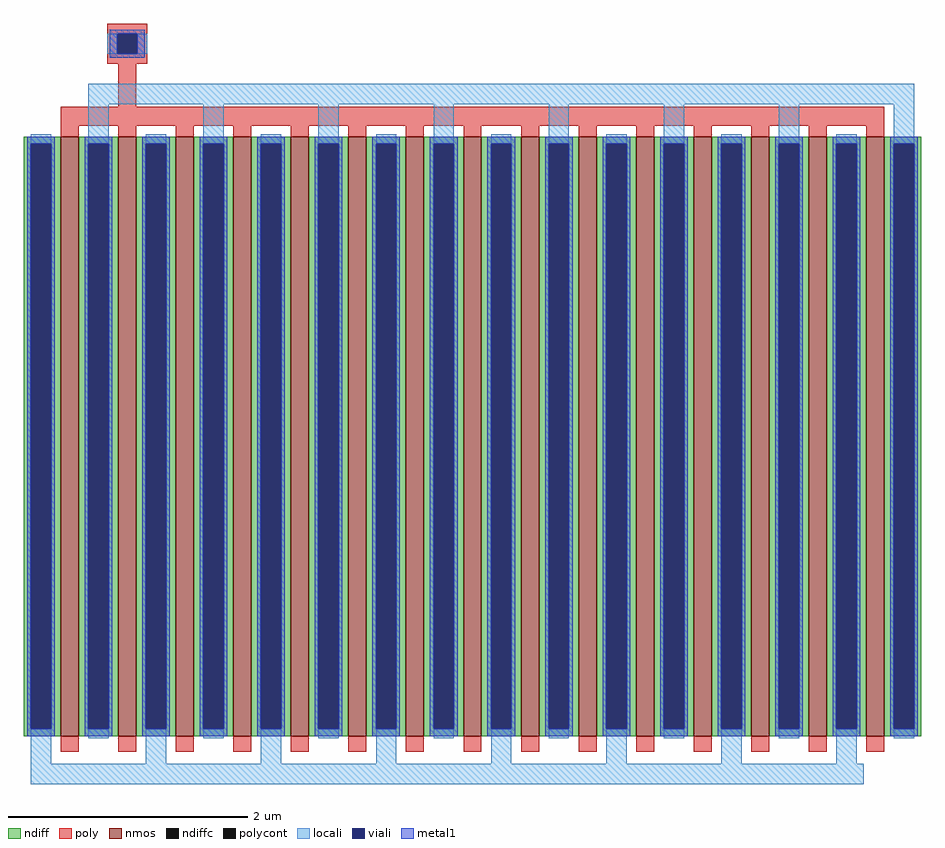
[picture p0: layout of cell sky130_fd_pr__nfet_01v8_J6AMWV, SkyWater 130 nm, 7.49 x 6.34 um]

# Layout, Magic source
magic
tech sky130A
magscale 1 2
<< nmos >>
rect -687 -500 -657 500
rect -591 -500 -561 500
rect -495 -500 -465 500
rect -399 -500 -369 500
rect -303 -500 -273 500
rect -207 -500 -177 500
rect -111 -500 -81 500
rect -15 -500 15 500
rect 81 -500 111 500
rect 177 -500 207 500
rect 273 -500 303 500
rect 369 -500 399 500
rect 465 -500 495 500
rect 561 -500 591 500
rect 657 -500 687 500
<< ndiff >>
rect -749 488 -687 500
rect -749 -488 -737 488
rect -703 -488 -687 488
rect -749 -500 -687 -488
rect -657 488 -591 500
rect -657 -488 -641 488
rect -607 -488 -591 488
rect -657 -500 -591 -488
rect -561 488 -495 500
rect -561 -488 -545 488
rect -511 -488 -495 488
rect -561 -500 -495 -488
rect -465 488 -399 500
rect -465 -488 -449 488
rect -415 -488 -399 488
rect -465 -500 -399 -488
rect -369 488 -303 500
rect -369 -488 -353 488
rect -319 -488 -303 488
rect -369 -500 -303 -488
rect -273 488 -207 500
rect -273 -488 -257 488
rect -223 -488 -207 488
rect -273 -500 -207 -488
rect -177 488 -111 500
rect -177 -488 -161 488
rect -127 -488 -111 488
rect -177 -500 -111 -488
rect -81 488 -15 500
rect -81 -488 -65 488
rect -31 -488 -15 488
rect -81 -500 -15 -488
rect 15 488 81 500
rect 15 -488 31 488
rect 65 -488 81 488
rect 15 -500 81 -488
rect 111 488 177 500
rect 111 -488 127 488
rect 161 -488 177 488
rect 111 -500 177 -488
rect 207 488 273 500
rect 207 -488 223 488
rect 257 -488 273 488
rect 207 -500 273 -488
rect 303 488 369 500
rect 303 -488 319 488
rect 353 -488 369 488
rect 303 -500 369 -488
rect 399 488 465 500
rect 399 -488 415 488
rect 449 -488 465 488
rect 399 -500 465 -488
rect 495 488 561 500
rect 495 -488 511 488
rect 545 -488 561 488
rect 495 -500 561 -488
rect 591 488 657 500
rect 591 -488 607 488
rect 641 -488 657 488
rect 591 -500 657 -488
rect 687 488 749 500
rect 687 -488 703 488
rect 737 -488 749 488
rect 687 -500 749 -488
<< ndiffc >>
rect -737 -488 -703 488
rect -641 -488 -607 488
rect -545 -488 -511 488
rect -449 -488 -415 488
rect -353 -488 -319 488
rect -257 -488 -223 488
rect -161 -488 -127 488
rect -65 -488 -31 488
rect 31 -488 65 488
rect 127 -488 161 488
rect 223 -488 257 488
rect 319 -488 353 488
rect 415 -488 449 488
rect 511 -488 545 488
rect 607 -488 641 488
rect 703 -488 737 488
<< poly >>
rect -609 672 -543 688
rect -609 638 -593 672
rect -559 638 -543 672
rect -609 622 -543 638
rect -591 550 -561 622
rect -687 518 687 550
rect -687 500 -657 518
rect -591 500 -561 518
rect -495 500 -465 518
rect -399 500 -369 518
rect -303 500 -273 518
rect -207 500 -177 518
rect -111 500 -81 518
rect -15 500 15 518
rect 81 500 111 518
rect 177 500 207 518
rect 273 500 303 518
rect 369 500 399 518
rect 465 500 495 518
rect 561 500 591 518
rect 657 500 687 518
rect -687 -526 -657 -500
rect -591 -526 -561 -500
rect -495 -526 -465 -500
rect -399 -526 -369 -500
rect -303 -526 -273 -500
rect -207 -526 -177 -500
rect -111 -526 -81 -500
rect -15 -526 15 -500
rect 81 -526 111 -500
rect 177 -526 207 -500
rect 273 -526 303 -500
rect 369 -526 399 -500
rect 465 -526 495 -500
rect 561 -526 591 -500
rect 657 -526 687 -500
<< polycont >>
rect -593 638 -559 672
<< locali >>
rect -609 638 -593 672
rect -559 638 -543 672
rect -641 554 737 588
rect -737 488 -703 504
rect -737 -546 -703 -488
rect -641 488 -607 554
rect -641 -504 -607 -488
rect -545 488 -511 504
rect -545 -546 -511 -488
rect -449 488 -415 554
rect -449 -504 -415 -488
rect -353 488 -319 504
rect -353 -546 -319 -488
rect -257 488 -223 554
rect -257 -504 -223 -488
rect -161 488 -127 504
rect -161 -546 -127 -488
rect -65 488 -31 554
rect -65 -504 -31 -488
rect 31 488 65 504
rect 31 -546 65 -488
rect 127 488 161 554
rect 127 -504 161 -488
rect 223 488 257 504
rect 223 -546 257 -488
rect 319 488 353 554
rect 319 -504 353 -488
rect 415 488 449 504
rect 415 -546 449 -488
rect 511 488 545 554
rect 511 -504 545 -488
rect 607 488 641 504
rect 607 -546 641 -488
rect 703 488 737 554
rect 703 -504 737 -488
rect -737 -580 653 -546
<< viali >>
rect -593 638 -559 672
rect -737 -488 -703 488
rect -641 -488 -607 488
rect -545 -488 -511 488
rect -449 -488 -415 488
rect -353 -488 -319 488
rect -257 -488 -223 488
rect -161 -488 -127 488
rect -65 -488 -31 488
rect 31 -488 65 488
rect 127 -488 161 488
rect 223 -488 257 488
rect 319 -488 353 488
rect 415 -488 449 488
rect 511 -488 545 488
rect 607 -488 641 488
rect 703 -488 737 488
<< metal1 >>
rect -605 672 -547 678
rect -605 638 -593 672
rect -559 638 -547 672
rect -605 632 -547 638
rect -743 488 -697 500
rect -743 -488 -737 488
rect -703 -488 -697 488
rect -743 -500 -697 -488
rect -647 488 -601 500
rect -647 -488 -641 488
rect -607 -488 -601 488
rect -647 -500 -601 -488
rect -551 488 -505 500
rect -551 -488 -545 488
rect -511 -488 -505 488
rect -551 -500 -505 -488
rect -455 488 -409 500
rect -455 -488 -449 488
rect -415 -488 -409 488
rect -455 -500 -409 -488
rect -359 488 -313 500
rect -359 -488 -353 488
rect -319 -488 -313 488
rect -359 -500 -313 -488
rect -263 488 -217 500
rect -263 -488 -257 488
rect -223 -488 -217 488
rect -263 -500 -217 -488
rect -167 488 -121 500
rect -167 -488 -161 488
rect -127 -488 -121 488
rect -167 -500 -121 -488
rect -71 488 -25 500
rect -71 -488 -65 488
rect -31 -488 -25 488
rect -71 -500 -25 -488
rect 25 488 71 500
rect 25 -488 31 488
rect 65 -488 71 488
rect 25 -500 71 -488
rect 121 488 167 500
rect 121 -488 127 488
rect 161 -488 167 488
rect 121 -500 167 -488
rect 217 488 263 500
rect 217 -488 223 488
rect 257 -488 263 488
rect 217 -500 263 -488
rect 313 488 359 500
rect 313 -488 319 488
rect 353 -488 359 488
rect 313 -500 359 -488
rect 409 488 455 500
rect 409 -488 415 488
rect 449 -488 455 488
rect 409 -500 455 -488
rect 505 488 551 500
rect 505 -488 511 488
rect 545 -488 551 488
rect 505 -500 551 -488
rect 601 488 647 500
rect 601 -488 607 488
rect 641 -488 647 488
rect 601 -500 647 -488
rect 697 488 743 500
rect 697 -488 703 488
rect 737 -488 743 488
rect 697 -500 743 -488
<< properties >>
string gencell sky130_fd_pr__nfet_01v8
string parameters w 5 l 0.150 m 1 nf 15 diffcov 100 polycov 100 guard 0 glc 0 grc 0 gtc 0 gbc 0 tbcov 100 rlcov 100 topc 1 botc 0 poverlap 0 doverlap 1 lmin 0.15 wmin 0.42 compatible {sky130_fd_pr__nfet_01v8 sky130_fd_pr__nfet_01v8_lvt  sky130_fd_bs_flash__special_sonosfet_star  sky130_fd_pr__nfet_g5v0d10v5 sky130_fd_pr__nfet_05v0_nvt  sky130_fd_pr__nfet_03v3_nvt} full_metal 0 viasrc 100 viadrn 100 viagate 100 viagb 0 viagr 0 viagl 0 viagt 0
string library sky130
<< end >>
